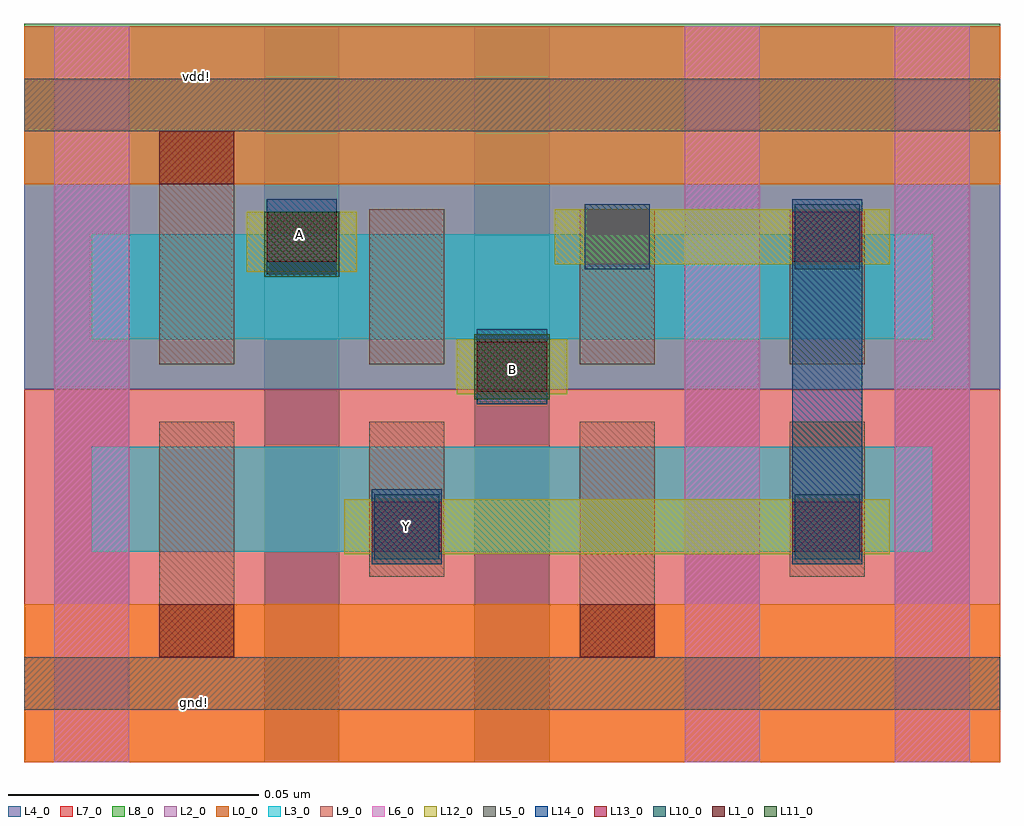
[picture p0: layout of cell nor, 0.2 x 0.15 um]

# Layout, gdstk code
from math import pi, radians
import gdstk
lib = gdstk.Library(unit=1e-6, precision=5e-10)
def R(c, l, rs):  # rectangles x0, y0, x1, y1
    for r in rs: c.add(gdstk.rectangle(r[:2], r[2:], *l))
def A(c, l, x, y, w, h, nx, ny, dx, dy):  # array of equal rectangles
    R(c, l, [(x+i*dx, y+j*dy, x+i*dx+w, y+j*dy+h) for i in range(nx) for j in range(ny)])
L0_0 = (0, 0)
L1_0 = (1, 0)
L2_0 = (2, 0)
L3_0 = (3, 0)
L4_0 = (4, 0)
L5_0 = (5, 0)
L6_0 = (6, 0)
L7_0 = (7, 0)
L8_0 = (8, 0)
L9_0 = (9, 0)
L10_0 = (10, 0)
L11_0 = (11, 0)
L12_0 = (12, 0)
L13_0 = (13, 0)
L14_0 = (14, 0)

bpr_m0a = lib.new_cell('BPR_M0A')
R(bpr_m0a, L0_0, [(-0.021,-0.0055,0.021,0.026)])
R(bpr_m0a, L1_0, [(-0.0075,-0.0055,0.0075,0.005)])
R(bpr_m0a, L9_0, [(-0.0075,-0.0165,0.0075,0.005)])

nmos = lib.new_cell('nmos')
R(nmos, L3_0, [(-0.042,-0.0105,0.042,0.0105)])
A(nmos, L4_0, -0.0495, -0.032, 0.015, 0.064, 3, 1, 0.042, 0)
R(nmos, L7_0, [(-0.0555,-0.021,0.0555,0.0205)])
R(nmos, L9_0, [(-0.0285,-0.0155,-0.0135,0.0155), (0.0135,-0.0155,0.0285,0.0155)])

pmos = lib.new_cell('pmos')
R(pmos, L2_0, [(-0.042,-0.0205,0.042,0.0205)])
R(pmos, L3_0, [(-0.042,-0.0105,0.042,0.0105)])
A(pmos, L4_0, -0.0495, -0.032, 0.015, 0.064, 3, 1, 0.042, 0)
R(pmos, L8_0, [(-0.0555,-0.0205,0.0555,0.0205)])
R(pmos, L9_0, [(-0.0285,-0.0155,-0.0135,0.0155), (0.0135,-0.0155,0.0285,0.0155)])

m0b_m1 = lib.new_cell('M0B_M1')
R(m0b_m1, L12_0, [(-0.011,-0.005,0.011,0.005)])
R(m0b_m1, L13_0, [(-0.007,-0.005,0.007,0.005)])
R(m0b_m1, L14_0, [(-0.007,-0.0075,0.007,0.0075)])

m0a_m0b = lib.new_cell('M0A_M0B')
R(m0a_m0b, L9_0, [(-0.0075,-0.0055,0.0075,0.0055)])
R(m0a_m0b, L10_0, [(-0.0065,-0.0065,0.0065,0.0065)])
R(m0a_m0b, L12_0, [(-0.0125,-0.0055,0.0125,0.0055)])

gate_m0b = lib.new_cell('GATE_M0B')
R(gate_m0b, L4_0, [(-0.0075,-0.0115,0.0075,0.0115)])
R(gate_m0b, L11_0, [(-0.0075,-0.0065,0.0075,0.0065)])
R(gate_m0b, L12_0, [(-0.011,-0.0055,0.011,0.0055)])

nor = lib.new_cell('nor')
R(nor, L0_0, [(0.157,0.0005,0.352,0.032), (0.186,0.009,0.1965,0.016), (0.157,0.116,0.352,0.1475), (0.1885,0.1335,0.1945,0.1415)])
R(nor, L2_0, [(0.157,0.075,0.352,0.1475)])
A(nor, L4_0, 0.163, 0.0005, 0.015, 0.147, 5, 1, 0.042, 0)
R(nor, L5_0, [(0.157,0.011,0.352,0.0215), (0.157,0.1265,0.352,0.137)])
R(nor, L6_0, [(0.163,0.0005,0.178,0.1475), (0.289,0.0005,0.304,0.1475), (0.331,0.0005,0.346,0.1475)])
R(nor, L7_0, [(0.157,0.0005,0.352,0.075)])
R(nor, L8_0, [(0.157,0.075,0.352,0.148)])
R(nor, L12_0, [(0.221,0.042,0.325,0.053), (0.263,0.1,0.33,0.111)])
R(nor, L14_0, [(0.3105,0.04,0.3245,0.113), (0.2315,0.0455,0.2355,0.0495), (0.253,0.0775,0.2565,0.0805), (0.209,0.1035,0.2155,0.1085)])
nor.add(gdstk.Reference(bpr_m0a, (0.1915,0.1215)))
nor.add(gdstk.Reference(bpr_m0a, (0.2755,0.0265), rotation=pi))
nor.add(gdstk.Reference(bpr_m0a, (0.1915,0.0265), rotation=pi))
nor.add(gdstk.Reference(nmos, (0.2965,0.053)))
nor.add(gdstk.Reference(nmos, (0.2545,0.053)))
nor.add(gdstk.Reference(nmos, (0.2125,0.053)))
nor.add(gdstk.Reference(pmos, (0.2965,0.0955)))
nor.add(gdstk.Reference(pmos, (0.2545,0.0955)))
nor.add(gdstk.Reference(pmos, (0.2125,0.0955)))
nor.add(gdstk.Reference(m0b_m1, (0.2545,0.0795)))
nor.add(gdstk.Reference(m0b_m1, (0.2125,0.1055)))
nor.add(gdstk.Reference(m0b_m1, (0.3175,0.0475)))
nor.add(gdstk.Reference(m0b_m1, (0.3175,0.1055)))
nor.add(gdstk.Reference(m0b_m1, (0.2335,0.0475)))
nor.add(gdstk.Reference(m0a_m0b, (0.3175,0.0475)))
nor.add(gdstk.Reference(m0a_m0b, (0.3175,0.1055)))
nor.add(gdstk.Reference(m0a_m0b, (0.2755,0.1055)))
nor.add(gdstk.Reference(m0a_m0b, (0.2335,0.0475)))
nor.add(gdstk.Reference(gate_m0b, (0.2545,0.0795)))
nor.add(gdstk.Reference(gate_m0b, (0.2125,0.104)))
nor.add(gdstk.Label('Y', (0.2335,0.0475), layer=14, texttype=0))
nor.add(gdstk.Label('B', (0.2545,0.079), layer=14, texttype=0))
nor.add(gdstk.Label('A', (0.212,0.106), layer=14, texttype=0))
nor.add(gdstk.Label('gnd!', (0.191,0.0125), layer=0, texttype=0))
nor.add(gdstk.Label('vdd!', (0.1915,0.1375), layer=0, texttype=0))

lib.write_gds('nor.gds')
